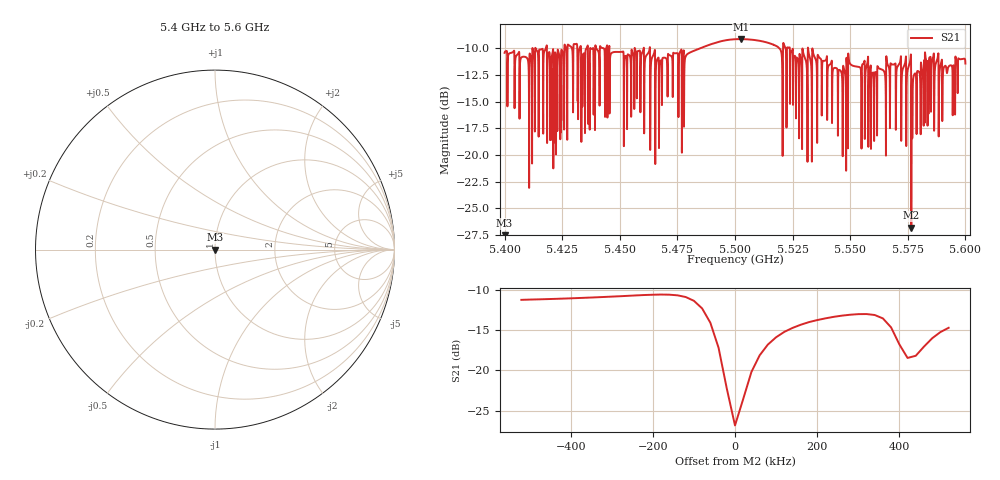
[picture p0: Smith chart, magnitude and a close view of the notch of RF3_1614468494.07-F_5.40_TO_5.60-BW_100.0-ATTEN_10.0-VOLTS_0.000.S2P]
!Keysight Technologies,E5063A,MY54502693,A.05.04
!Date: Sat Feb 27 16:28:33 2021
!Data & Calibration Information:
!Freq	S11:NONE(--)	S21:NONE(--)	S12:NONE(--)	S22:NONE(--)
# Hz S RI R 50
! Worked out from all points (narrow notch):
!   10000 points, 5.4 GHz to 5.6 GHz, reference 50 ohm
!   highest |S21| = -9.13 dB at 5.5026 GHz (marker M1); lowest = -26.8 dB at 5.5765 GHz (marker M2)
!   notch at M2: 16.1 dB deep, 87.2 kHz wide at half that depth
!   lowest |S11| = - dB at 5.4 GHz (marker M3), VSWR 1.00, Z = 50 + j0 ohm
!   |S11| at or under -10 dB: start of sweep to end of sweep
!   S12 and S22 are empty: the file has one direction only
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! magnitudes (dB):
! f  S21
! 5.4 GHz  -10.4
! 5.411 GHz  -10.5
! 5.4173 GHz  -10.2
! 5.4221 GHz  -10.4
! 5.4283 GHz  -9.8
! 5.4333 GHz  -16.4
! 5.4423 GHz  -10.0
! 5.4667 GHz  -10.9
! 5.4741 GHz  -10.5
! 5.4779 GHz  -17.3
! 5.5 GHz  -9.1
! 5.5026 GHz  -9.1
! 5.5334 GHz  -17.7
! 5.5473 GHz  -11.9
! 5.5501 GHz  -11.5
! 5.5588 GHz  -11.7
! 5.5667 GHz  -11.7
! 5.5755 GHz  -11.7
! 5.5765 GHz  -26.8
! 5.5853 GHz  -11.6
! 5.5893 GHz  -11.5
! 5.6 GHz  -11.4
